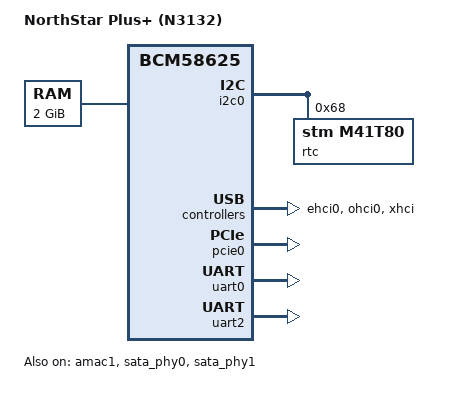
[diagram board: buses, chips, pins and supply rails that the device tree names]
/*
 *  BSD LICENSE
 *
 *  Copyright(c) 2016 Broadcom.  All rights reserved.
 *
 *  Redistribution and use in source and binary forms, with or without
 *  modification, are permitted provided that the following conditions
 *  are met:
 *
 *    * Redistributions of source code must retain the above copyright
 *      notice, this list of conditions and the following disclaimer.
 *    * Redistributions in binary form must reproduce the above copyright
 *      notice, this list of conditions and the following disclaimer in
 *      the documentation and/or other materials provided with the
 *      distribution.
 *    * Neither the name of Broadcom Corporation nor the names of its
 *      contributors may be used to endorse or promote products derived
 *      from this software without specific prior written permission.
 *
 *  THIS SOFTWARE IS PROVIDED BY THE COPYRIGHT HOLDERS AND CONTRIBUTORS
 *  "AS IS" AND ANY EXPRESS OR IMPLIED WARRANTIES, INCLUDING, BUT NOT
 *  LIMITED TO, THE IMPLIED WARRANTIES OF MERCHANTABILITY AND FITNESS FOR
 *  A PARTICULAR PURPOSE ARE DISCLAIMED. IN NO EVENT SHALL THE COPYRIGHT
 *  OWNER OR CONTRIBUTORS BE LIABLE FOR ANY DIRECT, INDIRECT, INCIDENTAL,
 *  SPECIAL, EXEMPLARY, OR CONSEQUENTIAL DAMAGES (INCLUDING, BUT NOT
 *  LIMITED TO, PROCUREMENT OF SUBSTITUTE GOODS OR SERVICES; LOSS OF USE,
 *  DATA, OR PROFITS; OR BUSINESS INTERRUPTION) HOWEVER CAUSED AND ON ANY
 *  THEORY OF LIABILITY, WHETHER IN CONTRACT, STRICT LIABILITY, OR TORT
 *  (INCLUDING NEGLIGENCE OR OTHERWISE) ARISING IN ANY WAY OUT OF THE USE
 *  OF THIS SOFTWARE, EVEN IF ADVISED OF THE POSSIBILITY OF SUCH DAMAGE.
 */

/dts-v1/;

#include "bcm-nsp.dtsi"
#include "bcm-iproc-coherent.dtsi"
#include "bcm-nsp-b0-idm.dtsi"
#include <dt-bindings/gpio/gpio.h>

/ {
	model = "NorthStar Plus+ (N3132)";
	compatible = "brcm,bcm58625", "brcm,nsp";

	aliases {
		serial0 = &uart0;
		serial1 = &uart2;
	};

	chosen {
		stdout-path = "serial0:115200n8";
	};

	memory {
		device_type = "memory";
		reg = <0x60000000 0x80000000>;
	};

	smp_lut_offset {
		compatible = "brcm,smp_lut_offset";
		lut-offset = <0xfec>;
	};

};

&i2c0 {
    status = "okay";
    rtc@68 {
        compatible = "stm,m41t80", "m41st85";
        reg = <0x68>;
    };
};

//&amac0 {
//	status = "okay";
//};

&amac1 {
	status = "okay";
};

&ehci0 {
	status = "okay";
};

&nand {

	#address-cells = <1>;
	#size-cells = <1>;

    partition@0 {
        /* uboot - 4MB */
        reg = <0x00000000 0x00400000>;
        label = "uboot";
        /*read-only;*/
    };
    partition@1 {
        /* uboot-env - 4MB */
        reg = <0x00400000 0x00400000>;
        label = "uboot-env";
        env_size = <0x00002000>;
    };
    partition@2 {
        /* shmoo - 2MB */
        reg = <0x00800000 0x00200000>;
        label = "shmoo";
    };
    partition@3 {
        /* sys_eeprom - 4MB */
        reg = <0x00a00000 0x00400000>;
        label = "sys_eeprom";
    };
    partition@4 {
        /* diags - 32MB */
        reg = <0x00e00000 0x02000000>;
        label = "diags";
    };
    partition@5 {
        /* onie - 32MB */
        reg = <0x02e00000 0x02000000>;
        label = "onie";
    };
    partition@6 {
        /* open - 448MB */
        reg = <0x04e00000 0xFB200000>;
        label = "open";
    };
};

&ohci0 {
	status = "okay";
};

&pcie0 {
	status = "okay";
};

&sata_phy0 {
	status = "okay";
};

&sata_phy1 {
	status = "okay";
};

&uart0 {
	status = "okay";
};

&uart2 {
	status = "okay";
};

&xhci {
	status = "okay";
};
